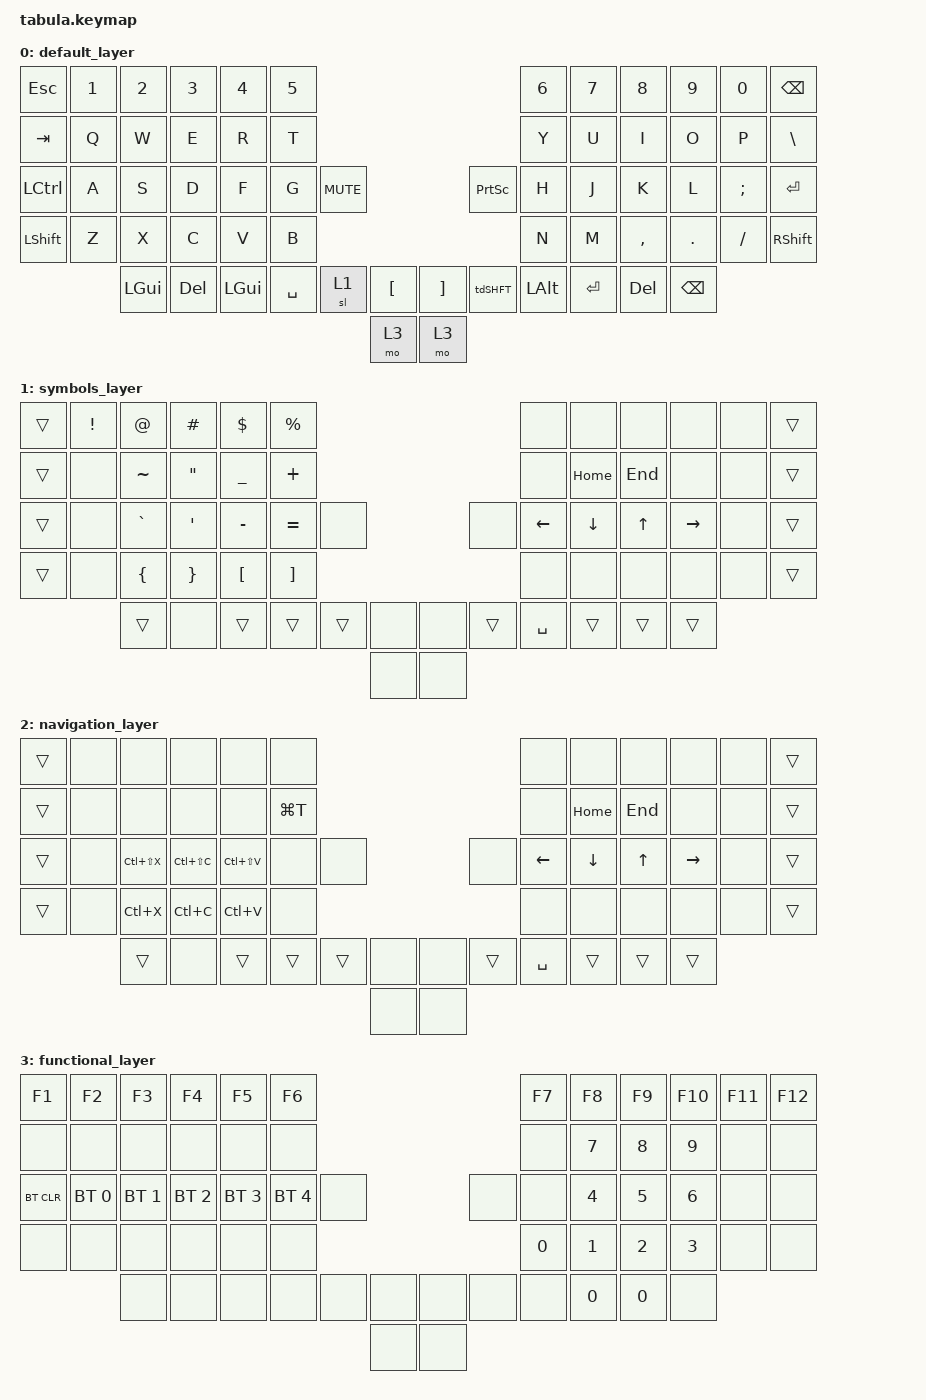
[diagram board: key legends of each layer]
#include <behaviors.dtsi>
#include <dt-bindings/zmk/keys.h>
#include <dt-bindings/zmk/bt.h>
#include <dt-bindings/zmk/ext_power.h>

#define _CUT    &kp LC(X)
#define _COPY   &kp LC(C)
#define _PASTE  &kp LC(V)
#define TCUT    &kp LC(LS(X))
#define TCOPY   &kp LC(LS(C))
#define TPASTE  &kp LC(LS(V))

// Issues with timeless home row mods:
// - cannot quickly roll mod into a key (e.g. alt-w in zellij), need to either hold the mod or press/release the key, this is not how I type
// - ctrl-s is similar to above, I don't want to slow down
// - the docs mention for false-positives cross hand to decrease require-prior-idle-ms, but it would have to be too low to be seamles
// - **maybe* I could learn to slow down for the sake of staying on the home row

#define KEYS_LEFT_NUM     0  1  2  3  4  5
#define KEYS_LEFT_ABOVE  12 13 14 15 16 17
#define KEYS_LEFT_HOME   24 25 26 27 28 29 30
#define KEYS_LEFT_BELOW  38 39 40 41 42 43
#define KEYS_LEFT_THUMB1       50 51 52 53 54 55
#define KEYS_LEFT_THUMB2                      62
#define KEYS_LEFT_IGNORE 0 12 24 38 KEYS_LEFT_THUMB1 KEYS_LEFT_THUMB2 30

#define KEYS_RIGHT_NUM           6  7  8  9 10 11
#define KEYS_RIGHT_ABOVE        18 19 20 21 22 23
#define KEYS_RIGHT_HOME      31 32 33 34 35 36 37
#define KEYS_RIGHT_BELOW        44 45 46 47 48 49
#define KEYS_RIGHT_THUMB1 56 57 58 59 60 61
#define KEYS_RIGHT_THUMB2 63
#define KEYS_RIGHT_IGNORE 31 KEYS_RIGHT_THUMB1 KEYS_RIGHT_THUMB2 11 23 37 49

#define KEYS_LEFT KEYS_LEFT_NUM KEYS_LEFT_ABOVE KEYS_LEFT_HOME KEYS_LEFT_BELOW KEYS_LEFT_THUMB1 KEYS_LEFT_THUMB2
#define KEYS_RIGHT KEYS_RIGHT_NUM KEYS_RIGHT_ABOVE KEYS_RIGHT_HOME KEYS_RIGHT_BELOW KEYS_RIGHT_THUMB1 KEYS_RIGHT_THUMB2

#define hrA &hml LGUI A
#define hrS &hml LALT S
#define hrD &hml LSHFT D
#define hrF &hml LCTRL F
#define hrJ &hmr LCTRL J
#define hrK &hmr RSHFT K
#define hrL &hmr LALT L
#define hrSEMI &hmr LGUI SEMI

&sl {
    release-after-ms = <1000>;
};

// / {
//     combos {
//         compatible = "zmk,combos";
//         combo_LBKT {
//             timeout-ms = <18>;
//             key-positions = <33 34>;
//             bindings = <&kp LBKT>;
//         };
//     };
// };

/ {
    behaviors {
        tdSHFT: tap_dance_0 {
            compatible = "zmk,behavior-tap-dance";
            #binding-cells = <0>;
            tapping-term-ms = <200>;
            bindings = <&kp LSHFT>, <&caps_word>;
        };
        tdNAVGUI: tap_dance_1 {
            compatible = "zmk,behavior-tap-dance";
            #binding-cells = <0>;
            tapping-term-ms = <200>;
            bindings = <&sl 2>, <&kp LGUI>;
        };
        hml: home_row_mod_left {
            compatible = "zmk,behavior-hold-tap";
            #binding-cells = <2>;
            flavor = "balanced";
            require-prior-idle-ms = <135>; // default 150
            tapping-term-ms = <280>;
            quick-tap-ms = <175>;
            bindings = <&kp>, <&kp>;
            hold-trigger-key-positions = <KEYS_RIGHT KEYS_LEFT_IGNORE>;
            hold-trigger-on-release;
        };
        hmr: home_row_mod_right {
            compatible = "zmk,behavior-hold-tap";
            #binding-cells = <2>;
            flavor = "balanced";
            require-prior-idle-ms = <135>; // default 150
            tapping-term-ms = <280>;
            quick-tap-ms = <175>;
            bindings = <&kp>, <&kp>;
            hold-trigger-key-positions = <KEYS_LEFT KEYS_RIGHT_IGNORE>;
            hold-trigger-on-release;
        };
    };

    keymap {
        compatible = "zmk,keymap";

        /* https://zmk.dev/docs/keymaps/list-of-keycodes */
        default_layer {
            bindings = <
&kp ESC   &kp N1 &kp N2   &kp N3     &kp N4     &kp N5                                                   &kp N6     &kp N7    &kp N8    &kp N9   &kp N0   &kp BSPC
&kp TAB   &kp Q  &kp W    &kp E      &kp R      &kp T                                                    &kp Y      &kp U     &kp I     &kp O    &kp P    &kp BSLH
&kp LCTRL &kp A  &kp S    &kp D      &kp F      &kp G     &kp C_MUTE                           &kp PSCRN &kp H      &kp J     &kp K     &kp L    &kp SEMI &kp ENTER
//&kp LCTRL hrA    hrS      hrD        hrF        &kp G    &kp C_MUTE                            &kp PSCRN &kp H      hrJ       hrK       hrL      hrSEMI   &kp ENTER
&kp LSHFT &kp Z  &kp X    &kp C      &kp V      &kp B                                                    &kp N      &kp M     &kp COMMA &kp DOT  &kp FSLH &kp RSHFT
//                 &kp LGUI &kp DEL    &kp LGUI   &kp LALT &tdSHFT    &kp LBKT          &kp RBKT &sl 1     &kp SPACE  &kp ENTER &kp DEL   &kp BSPC
                 &kp LGUI &kp DEL    &kp LGUI   &kp SPACE &sl 1     &kp LBKT          &kp RBKT &tdSHFT   &kp LALT  &kp ENTER &kp DEL   &kp BSPC
                                                                    &mo 3             &mo 3
            >;
        };
        symbols_layer {
            bindings = <
&trans    &kp EXCL &kp AT    &kp POUND &kp DLLR  &kp PRCNT                                                 &none      &none    &none   &none     &none   &trans
&trans    &none    &kp TILDE &kp DQT   &kp UNDER &kp PLUS                                                  &none      &kp HOME &kp END &none     &none   &trans
&trans    &none    &kp GRAVE &kp APOS  &kp MINUS &kp EQUAL &none                                &none      &kp LEFT   &kp DOWN &kp UP  &kp RIGHT &none   &trans
&trans    &none    &kp LBRC  &kp RBRC  &kp LBKT  &kp RBKT                                                  &none      &none    &none   &none     &none   &trans
                   &trans    &none     &trans    &trans    &trans    &none             &none    &trans     &kp SPACE  &trans   &trans  &trans
                                                                     &none             &none
            >;
        };
        navigation_layer {
            bindings = <
&trans    &none    &none     &none     &none     &none                                                  &none     &none     &none     &none     &none    &trans
&trans    &none    &none     &none     &none     &kp LG(T)                                              &none     &kp HOME  &kp END   &none     &none    &trans
&trans    &none    TCUT      TCOPY     TPASTE    &none     &none                                &none   &kp LEFT  &kp DOWN  &kp UP    &kp RIGHT &none    &trans
&trans    &none    _CUT      _COPY     _PASTE    &none                                                  &none     &none     &none     &none     &none    &trans
                   &trans    &none     &trans    &trans    &trans   &none             &none     &trans  &kp SPACE &trans    &trans    &trans
                                                                    &none             &none
            >;
        };
        functional_layer {
            bindings = <
&kp F1     &kp F2       &kp F3       &kp F4       &kp F5       &kp F6                                            &kp F7    &kp F8    &kp F9    &kp F10   &kp F11  &kp F12
&none      &none        &none        &none        &none        &none                                             &none     &kp N7    &kp N8    &kp N9    &none    &none
&bt BT_CLR &bt BT_SEL 0 &bt BT_SEL 1 &bt BT_SEL 2 &bt BT_SEL 3 &bt BT_SEL 4 &none                       &none    &none     &kp N4    &kp N5    &kp N6    &none    &none
&none      &none        &none        &none        &none        &none                                             &kp N0    &kp N1    &kp N2    &kp N3    &none    &none
                        &none        &none        &none        &none        &none    &none     &none    &none    &none     &kp N0    &kp N0    &none
                                                                                     &none     &none
            >;
        };
    };
};
